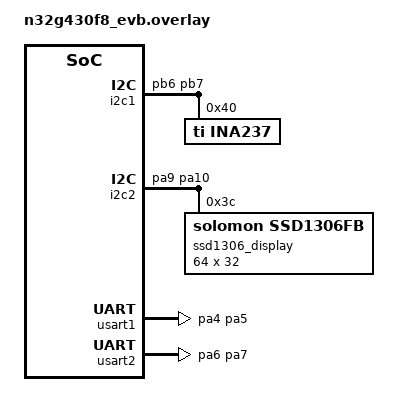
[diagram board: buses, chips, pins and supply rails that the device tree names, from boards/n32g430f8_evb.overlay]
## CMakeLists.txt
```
#-------------------------------------------------------------------------------
# Zephyr Example Application
#
# Copyright (c) 2021 Nordic Semiconductor ASA
# SPDX-License-Identifier: Apache-2.0


cmake_minimum_required(VERSION 3.20.0)
# list(APPEND BOARD_ROOT ${CMAKE_CURRENT_SOURCE_DIR})
include($ENV{ZEPHYR_BASE}/cmake/cfb.cmake NO_POLICY_SCOPE)
find_package(Zephyr REQUIRED HINTS $ENV{ZEPHYR_BASE})
project(gaz)

FILE(GLOB app_sources src/*.c)
target_sources(app PRIVATE ${app_sources})
generate_cfb_font_for_target(app fonts/MxPlus_IBM_CGAthin.ttf ${ZEPHYR_BINARY_DIR}/include/generated/cfb_font_dice.h 8 8 -s 8)
```

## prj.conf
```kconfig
CONFIG_PRINTK=y
CONFIG_SHELL=y
CONFIG_SHELL_MINIMAL=y
CONFIG_SHELL_BACKEND_SERIAL=y

CONFIG_SERIAL=y
CONFIG_CONSOLE=y
CONFIG_UART_CONSOLE=y
CONFIG_UART_INTERRUPT_DRIVEN=y

CONFIG_I2C=y
CONFIG_SENSOR=y

CONFIG_I2C_SHELL=y

CONFIG_MAIN_STACK_SIZE=1024

CONFIG_DISPLAY=y
CONFIG_SSD1306=y

CONFIG_HEAP_MEM_POOL_SIZE=1024

CONFIG_CFB_LOG_LEVEL_DBG=n
CONFIG_CHARACTER_FRAMEBUFFER=y
CONFIG_CHARACTER_FRAMEBUFFER_USE_DEFAULT_FONTS=n

CONFIG_ZCBOR=y
CONFIG_CRC=y
```

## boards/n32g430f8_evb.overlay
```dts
/*
 * SPDX-License-Identifier: Apache-2.0
 */

/ {
    chosen {

		zephyr,console = &usart2;
		zephyr,shell-uart = &usart2;

		zephyr,data-uart = &usart1;
        zephyr,display = &ssd1306_display;
    };
};

&i2c1 {
	pinctrl-0 =<&i2c1_pb6_pb7>;
	pinctrl-names = "default";
	status = "okay";

	ina237: ina237@40 {
		compatible = "ti,ina237";
		reg = <0x40>;
		current-lsb-microamps = <100>;
		rshunt-micro-ohms = <2000>;
	};
};

&i2c2 {
	pinctrl-0 =<&i2c2_pa9_pa10>;
	pinctrl-names = "default";

	status = "okay";
    	ssd1306_display: ssd1306@3c {
		compatible = "solomon,ssd1306fb";
		reg = <0x3c>;
		width = <64>;
		height = <32>;
		segment-offset = <32>;
		page-offset = <0>;
		display-offset = <32>;
		multiplex-ratio = <63>;
		segment-remap;
		com-invdir;
		prechargep = <0x22>;
	};

};

&usart1 {
	pinctrl-0 =<&usart1_pa4_pa5>;
	pinctrl-names = "default";
	status = "okay";
};

&usart2 {
	pinctrl-0 =<&usart2_pa6_pa7>;
	pinctrl-names = "default";
	status = "okay";
};
```

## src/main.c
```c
/*
 * Copyright (c) 2016 Intel Corporation
 *
 * SPDX-License-Identifier: Apache-2.0
 */

#include <string.h>
#include <strings.h>
#include <stdlib.h>
#include <zephyr/kernel.h>
#include <zephyr/drivers/gpio.h>
#include <zephyr/dt-bindings/sensor/ina230.h>
#include <zephyr/drivers/sensor.h>
#include <zephyr/shell/shell.h>

#include <zephyr/display/cfb.h>
#include "cfb_font_dice.h"


#if defined(CONFIG_LOG)
#define LOG_LEVEL LOG_LEVEL_DBG
LOG_MODULE_REGISTER(main);
#define INFO  LOG_INF
#define ERROR LOG_ERR
#else
#define INFO  printk
#define ERROR printk
#endif

/* 1000 msec = 1 sec */
#define SLEEP_TIME_MS   100

const struct device *const ina237_dev = DEVICE_DT_GET(DT_NODELABEL(ina237));
static struct device *ina_dev = (struct device *)ina237_dev;

int actualv = 0, actuali = 0, actualp = 0, vshunt = 0;
bool ina_on = true;


static void gather_ina_input()
{
	struct sensor_value sensor_val;
	if (ina_on) {
		int ret = sensor_sample_fetch(ina_dev);
		if (ret < 0) {
			ERROR("error fetching sensor input!! %d", ret);
		}

		sensor_channel_get(ina_dev, SENSOR_CHAN_VOLTAGE, &sensor_val);
		actualv = (sensor_value_to_double(&sensor_val) * 1000);
		sensor_channel_get(ina_dev, SENSOR_CHAN_CURRENT, &sensor_val);
		actuali = (sensor_value_to_double(&sensor_val) * 1000);
		sensor_channel_get(ina_dev, SENSOR_CHAN_POWER, &sensor_val);
		actualp = (sensor_value_to_double(&sensor_val) * 1000);
		sensor_channel_get(ina_dev, SENSOR_CHAN_VSHUNT, &sensor_val);
		vshunt = (sensor_value_to_double(&sensor_val) * 1000000);
	}
}

static void ina_enable(bool on)
{
	ina_on = on;

	if (!ina_on) {
		actualv = 0;
		actuali = 0;
		actualp = 0;
		vshunt = 0;
	}
}

static int cmd_read_input(const struct shell *sh, size_t argc, char **argv)
{
	if (argc > 1) {
		if (!strcasecmp("off", argv[1])) {
			ina_enable(false);
		} else if (!strcasecmp("on", argv[1])) {
			ina_enable(true);
		}
	}

	shell_print(sh, "Shunt voltage: 0 => %d uV", vshunt);
	shell_print(sh, "Bus voltage  : 0 => %d mV", actualv);
	shell_print(sh, "Power        : 0 => %d mW", actualp);
	shell_print(sh, "Current      : 0 => %d mA", actuali);
	shell_print(sh, "On           : 0 => %d", ina_on);

	return 0;
}

SHELL_CMD_ARG_REGISTER(ina, NULL, "Read the input voltate and current on port H", cmd_read_input, 0, 0);

extern void mgr_init(void);
int main(void)
{
	// int ret;
	// bool led_state = true;

	// if (!gpio_is_ready_dt(&led)) {
	// 	return 0;
	// }

	// ret = gpio_pin_configure_dt(&led, GPIO_OUTPUT_ACTIVE);
	// if (ret < 0) {
	// 	return 0;
	// }
	mgr_init();

	while (1) {
		gather_ina_input();
	// 	ret = gpio_pin_toggle_dt(&led);
	// 	if (ret < 0) {
	// 		return 0;
	// 	}

	// 	led_state = !led_state;
	// 	// printf("LED state: %s\n", led_state ? "ON" : " OFF");
		k_sleep(K_MSEC(SLEEP_TIME_MS));
	}
	return 0;
}



const struct device *const display = DEVICE_DT_GET(DT_CHOSEN(zephyr_display));
void configure_cfb(void)
{

	int err;

	if (!device_is_ready(display)) {
		ERROR("Display device not ready\n");
		return;
	}

	if (display_set_pixel_format(display, PIXEL_FORMAT_MONO10) != 0) {
		if (display_set_pixel_format(display, PIXEL_FORMAT_MONO01) != 0) {
			ERROR("Failed to set required pixel format");
			return;
		}
	}

	if (display_blanking_off(display) != 0) {
		ERROR("Failed to turn off display blanking\n");
		return;
	}

	err = cfb_framebuffer_init(display);
	if (err) {
		ERROR("Could not initialize framebuffer (err %d)\n", err);
	}

	cfb_framebuffer_invert(display);
	err = cfb_framebuffer_clear(display, true);
	if (err) {
		ERROR("Could not clear framebuffer (err %d)\n", err);
	}

	err = cfb_print(display, "A**__**A", 0, 0);
	if (err) {
		ERROR("Could not display custom font (err %d)\n", err);
	}

	err = cfb_framebuffer_finalize(display);
	if (err) {
		ERROR("Could not finalize framebuffer (err %d)\n", err);
	}
	return;
}


/* size of stack area used by each thread */
#define STACKSIZE 512

/* scheduling priority used by each thread */
#define PRIORITY 7

#define TEXT_H 10

void cfb_task(void)
{
	configure_cfb();
	char sbuf[10] = {0};
	k_sleep(K_MSEC(3000));


	while (1) {
		int text_y = 0;
		int err = 0;
		err = cfb_framebuffer_clear(display, true);
		if (err) {
			ERROR("Could not clear framebuffer (err %d)\n", err);
			goto SLEEP;
		}

		memset(sbuf, 0, sizeof(sbuf));
		if (ina_on) {
			snprintf(sbuf, sizeof(sbuf) - 1, "%d mV", actualv);
		} else {
			snprintf(sbuf, sizeof(sbuf) - 1, "-- mV");
		}
		err = cfb_print(display, sbuf, 0, text_y);
		text_y += TEXT_H;
		if (err) {
			ERROR("Could not display custom font 1(err %d)\n", err);
			goto SLEEP;
		}

		memset(sbuf, 0, sizeof(sbuf));
		if (ina_on) {
			snprintf(sbuf, sizeof(sbuf) - 1, "%d mA", actuali);
		} else {
			snprintf(sbuf, sizeof(sbuf) - 1, "-- mA");
		}
		err = cfb_print(display, sbuf, 0, text_y);
		text_y += TEXT_H;

		if (err) {
			ERROR("Could not display custom font 1(err %d)\n", err);
			goto SLEEP;
		}

		err = cfb_framebuffer_finalize(display);
		if (err) {
			ERROR("Could not finalize framebuffer (err %d)\n", err);
		}
	SLEEP:
		k_sleep(K_MSEC(500));
	}
	return;
}

K_THREAD_DEFINE(cfb_task_id, STACKSIZE, cfb_task, NULL, NULL, NULL, PRIORITY, 0, 0);
```

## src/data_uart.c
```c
/*
 * Zephyr RTOS application using SerialTransfer protocol with ZCBOR encoding
 * Uses Zephyr's native CRC-8 function only
 * Sends voltage, current, and temperature readings every 100ms
 */

#include <zephyr/kernel.h>
#include <zephyr/device.h>
#include <zephyr/drivers/uart.h>
#include <zephyr/sys/crc.h>
#include <zcbor_common.h>
#include <zcbor_encode.h>
#include <string.h>
#include <stdlib.h>

#define UART_DEVICE_NODE DT_CHOSEN(zephyr_data_uart)
#define MAX_PACKET_SIZE 254
#define START_BYTE 0x7E
#define STOP_BYTE 0x81

/* CRC-8 polynomial used by Zephyr (0x07) */
#define CRC8_POLYNOMIAL 0x07
#define CRC8_INITIAL 0x00

static const struct device *const uart_dev = DEVICE_DT_GET(UART_DEVICE_NODE);

/* Sensor data structure */
struct sensor_data {
    int voltage;
    int current;
    int temperature;
};

/* COBS (Consistent Overhead Byte Stuffing) encoding */
static size_t cobs_encode(const uint8_t *src, size_t len, uint8_t *dst)
{
    const uint8_t *end = src + len;
    uint8_t *encode = dst;
    uint8_t *code_ptr = encode++;
    uint8_t code = 1;

    while (src < end) {
        if (*src == 0) {
            *code_ptr = code;
            code_ptr = encode++;
            code = 1;
        } else {
            *encode++ = *src;
            code++;
            if (code == 0xFF) {
                *code_ptr = code;
                code_ptr = encode++;
                code = 1;
            }
        }
        src++;
    }
    *code_ptr = code;
    
    return encode - dst;
}

extern int actualv, actuali;
/* Simulated sensor reading functions */
static int read_v(void)
{
    return actualv;
    // /* Simulate voltage reading between 11.5V and 14.5V */
    // static float voltage = 12.0f;
    // voltage += ((k_cycle_get_32() % 200) - 100) / 100.0f;
    // if (voltage < 11.5f) voltage = 11.5f;
    // if (voltage > 14.5f) voltage = 14.5f;
    // return voltage;
}

static int read_i(void)
{
    // /* Simulate current reading between 0.5A and 5.5A */
    // static float current = 3.0f;
    // current += ((k_cycle_get_32() % 200) - 100) / 100.0f;
    // if (current < 0.5f) current = 0.5f;
    // if (current > 5.5f) current = 5.5f;
    // return current;
    return actuali;
}

static int read_t(void)
{
    // /* Simulate temperature reading between 20.0°C and 35.0°C */
    // static float temp = 25.0f;
    // temp += ((k_cycle_get_32() % 100) - 50) / 50.0f;
    // if (temp < 20.0f) temp = 20.0f;
    // if (temp > 35.0f) temp = 35.0f;
    // return temp;
    return 0xFFFFF;
}

/* Encode sensor data using ZCBOR */
static int encode_sensor_data(struct sensor_data *data, uint8_t *buffer, 
                              size_t buffer_size, size_t *encoded_len)
{
    ZCBOR_STATE_E(states, 3, buffer, buffer_size, 1);
    
    bool success = zcbor_map_start_encode(states, 3) &&
                   zcbor_tstr_put_lit(states, "voltage") &&
                   zcbor_int32_put(states, data->voltage) &&
                   zcbor_tstr_put_lit(states, "current") &&
                   zcbor_int32_put(states, data->current) &&
                   zcbor_tstr_put_lit(states, "temperature") &&
                   zcbor_int32_put(states, data->temperature) &&
                   zcbor_map_end_encode(states, 3);
    
    if (!success) {
        return -1;
    }
    
    *encoded_len = states->payload - buffer;
    return 0;
}

/* Alternative simple encoding without ZCBOR (fallback) */
static int encode_sensor_data_simple(struct sensor_data *data, uint8_t *buffer, 
                                     size_t buffer_size, size_t *encoded_len)
{
    if (buffer_size < sizeof(struct sensor_data)) {
        return -1;
    }
    
    memcpy(buffer, &data->voltage, sizeof(int));
    memcpy(buffer + sizeof(int), &data->current, sizeof(int));
    memcpy(buffer + 2 * sizeof(int), &data->temperature, sizeof(int));
    
    *encoded_len = 3 * sizeof(int);
    return 0;
}

/* Send packet using SerialTransfer protocol with Zephyr CRC-8 */
static void send_packet(uint8_t packet_id, uint8_t *payload, size_t payload_len)
{
    uint8_t packet[MAX_PACKET_SIZE + 10];
    uint8_t cobs_buffer[MAX_PACKET_SIZE + 10];
    size_t packet_idx = 0;
    
    /* Build packet without delimiters */
    packet[packet_idx++] = packet_id;
    packet[packet_idx++] = (uint8_t)payload_len;
    
    /* Add payload */
    memcpy(&packet[packet_idx], payload, payload_len);
    packet_idx += payload_len;
    
    /* Calculate and add CRC-8 using Zephyr's native function */
    uint8_t crc = crc8(packet, packet_idx, CRC8_POLYNOMIAL, CRC8_INITIAL, false);
    packet[packet_idx++] = crc;
    
    /* COBS encode the packet */
    size_t cobs_len = cobs_encode(packet, packet_idx, cobs_buffer);
    
    /* Send the complete frame */
    uart_poll_out(uart_dev, START_BYTE);
    for (size_t i = 0; i < cobs_len; i++) {
        uart_poll_out(uart_dev, cobs_buffer[i]);
    }
    uart_poll_out(uart_dev, STOP_BYTE);
}



static bool data_uart_enabled = false;

void set_data_uart_enabled(bool enable)
{
    data_uart_enabled = enable;
}



void data_uart_task(void)
{
    if (!device_is_ready(uart_dev)) {
        printk("UART device not ready\n");
        return;
    }
    
    uint8_t packet_id = 0;
    uint32_t send_count = 0;
    
    while (1) {
        struct sensor_data data;
        uint8_t encode_buffer[128];
        size_t encoded_len;
        int ret;

        if(!data_uart_enabled) {
            goto SLEEP;
        }
        
        /* Read sensor values */
        data.voltage = read_v();
        data.current = read_i();
        data.temperature = read_t();
        
        /* Try to encode with ZCBOR */
        ret = encode_sensor_data(&data, encode_buffer, sizeof(encode_buffer), &encoded_len);
        
        /* If ZCBOR encoding fails, fall back to simple encoding */
        if (ret != 0) {
            printk("ZCBOR encoding failed, using simple encoding\n");
            ret = encode_sensor_data_simple(&data, encode_buffer, sizeof(encode_buffer), &encoded_len);
        }
        
        if (ret == 0) {
            /* Send packet using SerialTransfer protocol */
            send_packet(packet_id++, encode_buffer, encoded_len);
            send_count++;
            
            /* Print status every 10 packets */
            if (send_count % 10 == 0) {
                printk("[%d] V=%d, I=%d, T=%d, P=%d\n", 
                       send_count, data.voltage, data.current, data.temperature,
                       data.voltage * data.current);
            }
            
            /* Wrap packet ID at 255 */
            if (packet_id == 0) {
                printk("Packet ID wrapped around\n");
            }
        } 
        else {
            printk("Encoding failed\n");
        }
SLEEP:
        /* Wait 100ms */
        k_msleep(100);
    }
}
```

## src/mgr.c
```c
/*
 * Zephyr RTOS application using SerialTransfer protocol with ZCBOR encoding
 * Uses Zephyr's native CRC-8 function only
 * Sends voltage, current, and temperature readings every 100ms
 */

#include <zephyr/kernel.h>
#include <zephyr/device.h>
#include <zephyr/drivers/uart.h>
#include <zephyr/sys/atomic.h>
#include <zephyr/sys/byteorder.h>
#include <zephyr/arch/cpu.h>

#include <zcbor_common.h>
#include <zcbor_encode.h>
#include <zcbor_decode.h>
#include <string.h>
#include <stdlib.h>
#include <stdio.h>
#include <zephyr/shell/shell.h>
#include <string.h>
#include <strings.h>
#include <stdlib.h>


#define UART_DEVICE_NODE DT_CHOSEN(zephyr_data_uart)
#define MAX_PACKET_SIZE 114
static const uint8_t SYNC_BYTE = 0x00;

#define ENABLE_CRC 1

#if ENABLE_CRC
#include <zephyr/sys/crc.h>
/* CRC-8 polynomial used by Zephyr (0x07) */
#define CRC8_POLYNOMIAL 0x07
#define CRC8_INITIAL 0x00
#endif

static void process_command(uint8_t *buf, size_t len);

static uint8_t tx_buf[MAX_PACKET_SIZE + 12];
static uint8_t packet_buf[MAX_PACKET_SIZE + 10];
static uint8_t rx_buf[MAX_PACKET_SIZE];
static size_t rx_buf_len = 0;

static const struct device *const uart_dev = DEVICE_DT_GET(UART_DEVICE_NODE);

static void send_response_work_handler(struct k_work *work);

static struct k_work send_response_work;

static struct k_work_q response_work_q;
static K_THREAD_STACK_DEFINE(response_stack_area, 1024);
static uint16_t response_crid;

static void uart_irq_callback(const struct device *dev, void *user_data)
{
	uart_irq_update(dev);
	if (uart_irq_rx_ready(dev)) {
		uint8_t byte;
		static int64_t last_byte_timestamp;

		if (rx_buf_len > 0 && (k_uptime_get() - last_byte_timestamp > 100)) {
			/* Timeout, clear buffer */
			rx_buf_len = 0;
		}

		while (uart_fifo_read(dev, &byte, 1) > 0) {
			last_byte_timestamp = k_uptime_get();
			if (byte == SYNC_BYTE) {
				if (rx_buf_len > 0) {
					process_command(rx_buf, rx_buf_len);
				}
				rx_buf_len = 0; /* Reset for next packet */
			} else {
				if (rx_buf_len < sizeof(rx_buf)) {
					rx_buf[rx_buf_len++] = byte;
				} else {
					/* Buffer overflow, discard and reset */
					rx_buf_len = 0;
				}
			}
		}
	}
}

/* Sensor data structure */
struct sensor_data {
    int voltage;
    int current;
    int temperature;
};

/* COBS (Consistent Overhead Byte Stuffing) encoding */
static size_t cobs_encode(const uint8_t *src, size_t len, uint8_t *dst)
{
    const uint8_t *end = src + len;
    uint8_t *encode = dst;
    uint8_t *code_ptr = encode++;
    uint8_t code = 1;

    while (src < end) {
        if (*src == 0) {
            *code_ptr = code;
            code_ptr = encode++;
            code = 1;
        } else {
            *encode++ = *src;
            code++;
            if (code == 0xFF) {
                *code_ptr = code;
                code_ptr = encode++;
                code = 1;
            }
        }
        src++;
    }
    *code_ptr = code;

    return encode - dst;
}

static size_t cobs_decode(const uint8_t *src, size_t len, uint8_t *dst)
{
    const uint8_t *end = src + len;
    uint8_t *decode = dst;
    while (src < end) {
        int code = *src++;
        for (int i = 1; i < code; i++) {
            *decode++ = *src++;
        }
        if (code < 0xFF && src < end) {
            *decode++ = 0;
        }
    }
    return decode - dst;
}

extern int actualv, actuali;
/* Simulated sensor reading functions */
static int read_v(void)
{
    // /* Simulate voltage reading between 11.5V and 14.5V */
    // static float voltage = 12.0f;
    // voltage += ((k_cycle_get_32() % 200) - 100) / 100.0f;
    // if (voltage < 11.5f) voltage = 11.5f;
    // if (voltage > 14.5f) voltage = 14.5f;
    // return voltage;
    return actualv;
}

static int read_i(void)
{
    // /* Simulate current reading between 0.5A and 5.5A */
    // static float current = 3.0f;
    // current += ((k_cycle_get_32() % 200) - 100) / 100.0f;
    // if (current < 0.5f) current = 0.5f;
    // if (current > 5.5f) current = 5.5f;
    // return current;
    return actuali;
}

static int read_t(void)
{
    // /* Simulate temperature reading between 20.0°C and 35.0°C */
    // static float temp = 25.0f;
    // temp += ((k_cycle_get_32() % 100) - 50) / 50.0f;
    // if (temp < 20.0f) temp = 20.0f;
    // if (temp > 35.0f) temp = 35.0f;
    // return temp;
    return 0xFFFFF;
}

/* Encode sensor data using ZCBOR */
static int encode_sensor_data(struct sensor_data *data, uint16_t crid, uint8_t *buffer,
                              size_t buffer_size, size_t *encoded_len)
{
    ZCBOR_STATE_E(states, 4, buffer, buffer_size, 1);

    bool success = zcbor_map_start_encode(states, 4) &&
                   zcbor_tstr_put_lit(states, "volt") &&
                   zcbor_int32_put(states, data->voltage) &&
                   zcbor_tstr_put_lit(states, "curr") &&
                   zcbor_int32_put(states, data->current) &&
                   zcbor_tstr_put_lit(states, "temp") &&
                   zcbor_int32_put(states, data->temperature) &&
                   zcbor_tstr_put_lit(states, "crid") &&
                   zcbor_uint32_put(states, crid) &&
                   zcbor_map_end_encode(states, 4);

    if (!success) {
        return -1;
    }

    *encoded_len = states->payload - buffer;
    return 0;
}


/* Send packet using SerialTransfer protocol with Zephyr CRC-8 */
static void send_packet(uint8_t *packet, uint8_t packet_len)
{
	int tx_len = 0;

	memset(tx_buf, 0, sizeof(tx_buf));
	/* COBS encode the packet */
	size_t cobs_len = cobs_encode(packet, packet_len, &tx_buf[tx_len]);
	tx_len += cobs_len;
	tx_buf[tx_len++] = SYNC_BYTE;

	for (int i = 0; i < tx_len; i++) {
		uart_poll_out(uart_dev, tx_buf[i]);
	}
}



static atomic_t packet_id = ATOMIC_INIT(0);

static void send_sensor_data_response(uint16_t crid)
{
    struct sensor_data data;
    size_t encoded_len;
    int ret;

    atomic_val_t current_id = atomic_inc(&packet_id);
    if (current_id == 255) {
        atomic_set(&packet_id, 1);
    }

    memset(packet_buf, 0, sizeof(packet_buf));

    data.voltage = read_v();
    data.current = read_i();
    data.temperature = read_t();

    ret = encode_sensor_data(&data, crid, &packet_buf[2], MAX_PACKET_SIZE, &encoded_len);

    if (ret != 0) {
        printk("ZCBOR failed! ret=%d\n", ret);
    } else {
        packet_buf[0] = (uint8_t)current_id;
        packet_buf[1] = (uint8_t)encoded_len;
#if ENABLE_CRC
        uint8_t crc = crc8(packet_buf, encoded_len + 2, CRC8_POLYNOMIAL, CRC8_INITIAL, false);
        packet_buf[encoded_len + 2] = crc;
#endif
        send_packet(packet_buf, encoded_len + 3);
    }
}


static void send_response_work_handler(struct k_work *work)
{
	send_sensor_data_response(response_crid);
}

typedef struct {
    uint32_t crid;
    uint32_t sample_rate;
    bool enabled;
    char pwr[10];
    uint32_t baud;
    char mux[10];
} command_payload_t;

typedef void (*command_handler_t)(command_payload_t *payload);

typedef struct {
    const char *name;
    command_handler_t handler;
} command_t;

static void handle_getd(command_payload_t *payload)
{
    if (!k_work_is_pending(&send_response_work)) {
        response_crid = (uint16_t)payload->crid;
        k_work_submit_to_queue(&response_work_q, &send_response_work);
    }
}

static void handle_ping(command_payload_t *payload)
{
    size_t encoded_len;
    ZCBOR_STATE_E(states, 4, &packet_buf[2], MAX_PACKET_SIZE, 0);

    bool ok = zcbor_map_start_encode(states, 1) &&
              zcbor_tstr_put_lit(states, "pong") &&
              zcbor_bool_put(states, true) &&
              zcbor_map_end_encode(states, 1);

    if (ok) {
        encoded_len = states->payload - &packet_buf[2];
        atomic_val_t current_id = atomic_inc(&packet_id);
        if (current_id == 255) {
            atomic_set(&packet_id, 1);
        }
        packet_buf[0] = (uint8_t)current_id;
        packet_buf[1] = (uint8_t)encoded_len;
#if ENABLE_CRC
        uint8_t crc = crc8(packet_buf, encoded_len + 2, CRC8_POLYNOMIAL, CRC8_INITIAL, false);
        packet_buf[encoded_len + 2] = crc;
#endif
        send_packet(packet_buf, encoded_len + 3);
    }
}


static const command_t commands[] = {
    {"getd", handle_getd},
    {"ping", handle_ping},
};

static void process_command(uint8_t *buf, size_t len)
{
	uint8_t decoded_buf[MAX_PACKET_SIZE];
	size_t decoded_len = cobs_decode(buf, len, decoded_buf);

	if (decoded_len == 0) {
		return;
	}

	ZCBOR_STATE_D(states, 4, decoded_buf, decoded_len, 15, 0);
	char cmd_str[5] = {0};
	command_payload_t payload = {0};
	bool cmd_found = false;

	if (!zcbor_map_start_decode(states)) {
		printk("Failed to start map decode\n");
		return;
	}

	while (true) {
		struct zcbor_string key;
		if (!zcbor_tstr_decode(states, &key)) {
			break;
		}

		if (strncmp(key.value, "cmd", key.len) == 0) {
			struct zcbor_string val;
			if (!zcbor_tstr_decode(states, &val) || val.len >= sizeof(cmd_str)) {
				return;
			}
			memcpy(cmd_str, val.value, val.len);
			cmd_str[val.len] = '\0';
			cmd_found = true;
		} else if (strncmp(key.value, "id", key.len) == 0) {
			zcbor_uint32_decode(states, &payload.crid);
		} else if (strncmp(key.value, "pwr", key.len) == 0) {
			struct zcbor_string pwr_str;
			if (zcbor_tstr_decode(states, &pwr_str) && pwr_str.len < sizeof(payload.pwr)) {
				memcpy(payload.pwr, pwr_str.value, pwr_str.len);
				payload.pwr[pwr_str.len] = '\0';
			}
		} else {
			zcbor_any_skip(states, NULL);
		}
	}

	if (!zcbor_map_end_decode(states)) {
		printk("Failed to decode command map\n");
		return;
	}

	if (!cmd_found) {
		return;
	}

	for (int i = 0; i < ARRAY_SIZE(commands); i++) {
		if (strcmp(cmd_str, commands[i].name) == 0) {
			commands[i].handler(&payload);
			return;
		}
	}
}

void mgr_init(void)
{
    if (!device_is_ready(uart_dev)) {
        printk("UART device not ready\n");
        return;
    }

    k_work_queue_start(&response_work_q, response_stack_area,
		       K_THREAD_STACK_SIZEOF(response_stack_area), 5, NULL);

    k_work_init(&send_response_work, send_response_work_handler);
    uart_irq_callback_user_data_set(uart_dev, uart_irq_callback, NULL);
    uart_irq_rx_enable(uart_dev);
}
```
